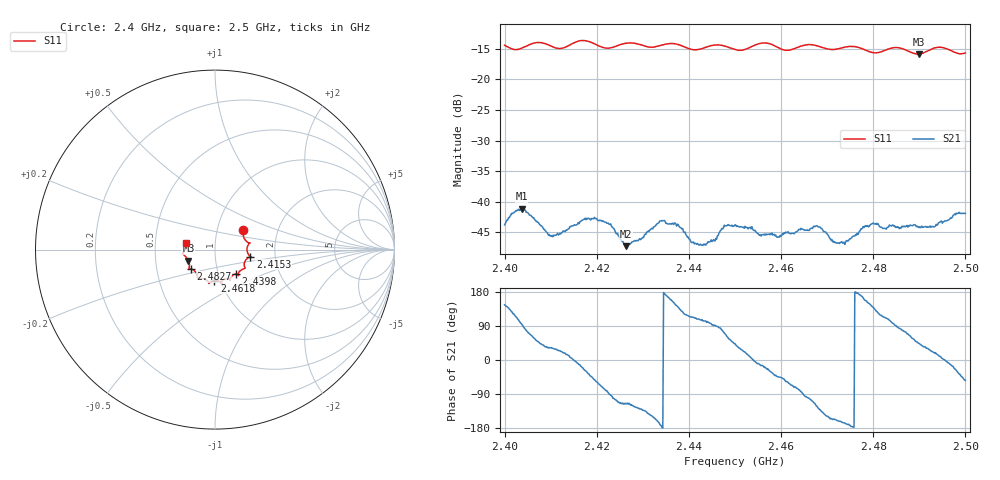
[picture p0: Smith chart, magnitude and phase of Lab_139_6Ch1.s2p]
# Hz S RI R 50
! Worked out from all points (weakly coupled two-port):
!   601 points, 2.4 GHz to 2.5 GHz, reference 50 ohm
!   highest |S21| = -41.09 dB at 2.4037 GHz (marker M1); lowest = -47.2 dB at 2.4263 GHz (marker M2)
!   lowest |S11| = -15.9 dB at 2.4898 GHz (marker M3), VSWR 1.38, Z = 36.9 - j4.65 ohm
!   |S11| at or under -10 dB: start of sweep to end of sweep
!   S12 and S22 are empty: the file has one direction only
!   S11 on the Smith chart (normalised r, x): 2.4 GHz: 1.33, +0.30; 2.4153 GHz: 1.48, -0.12; 2.4398 GHz: 1.21, -0.34; 2.4618 GHz: 0.94, -0.33; 2.4827 GHz: 0.75, -0.17; 2.5 GHz: 0.72, +0.06
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2.4e9  0.156 0.1072  -0.00535 0.00365  0 0  0 0
2.403667e9  0.1718 0.0499  -0.000784 0.00879  0 0  0 0
2.41e9  0.1852 0.0265  0.0045 0.00284  0 0  0 0
2.415333e9  0.1965 -0.0391  0.00644 -0.000341  0 0  0 0
2.416667e9  0.2022 -0.0431  0.00669 -0.00209  0 0  0 0
2.4225e9  0.1648 -0.0702  0.000442 -0.00669  0 0  0 0
2.426333e9  0.1677 -0.1024  -0.00191 -0.00391  0 0  0 0
2.433333e9  0.1297 -0.1341  -0.0064 -0.00193  0 0  0 0
2.437333e9  0.131 -0.1423  -0.0051 0.00377  0 0  0 0
2.439833e9  0.1156 -0.1358  -0.00233 0.00461  0 0  0 0
2.443333e9  0.0874 -0.1578  -0.000994 0.00434  0 0  0 0
2.45e9  0.0648 -0.1623  0.00474 0.00445  0 0  0 0
2.456333e9  0.039 -0.1939  0.00504 -0.00183  0 0  0 0
2.461833e9  -0.00337 -0.1727  0.00258 -0.0049  0 0  0 0
2.466667e9  -0.0349 -0.188  -0.00183 -0.00582  0 0  0 0
2.472333e9  -0.074 -0.1603  -0.00435 -0.00158  0 0  0 0
2.479833e9  -0.1084 -0.1242  -0.00511 0.00426  0 0  0 0
2.482667e9  -0.1345 -0.1084  -0.00218 0.00565  0 0  0 0
2.483333e9  -0.1396 -0.1081  -0.00188 0.00595  0 0  0 0
2.489833e9  -0.148 -0.0614  0.00442 0.00431  0 0  0 0
2.494333e9  -0.1811 -0.0214  0.00668 0.00118  0 0  0 0
2.5e9  -0.1592 0.0389  0.00473 -0.0065  0 0  0 0
